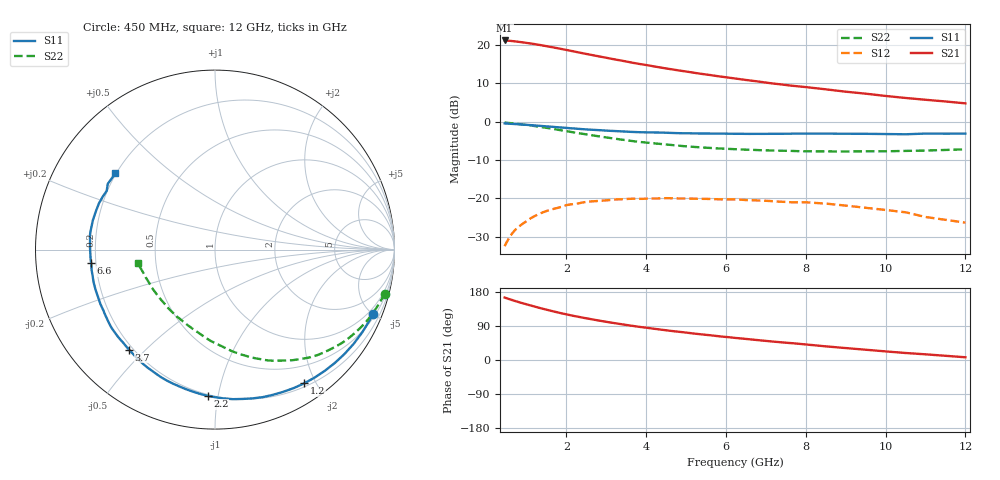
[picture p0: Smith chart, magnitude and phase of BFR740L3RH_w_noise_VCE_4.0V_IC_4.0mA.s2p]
! (c) 2012  Infineon Technologies AG, Munich
! Infineon Technologies  Discrete & RF Semiconductors
! BFR740L3RH
! VCE =  4.0 V,  IC =  4.0 mA
! Common Emitter S-Parameters:  May 2012
# GHz  S  MA  R  50
!  f  S11  S21  S12  S22
! GHz  MAG  ANG  MAG  ANG  MAG  ANG  MAG  ANG
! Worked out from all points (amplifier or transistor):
!   85 points, 450 MHz to 12 GHz, reference 50 ohm
!   highest |S21| = 21.2 dB at 450 MHz (marker M1)
!   |S21| within 3 dB of that: start of sweep to 2.248 GHz
!   unconditionally stable (mu >= 1): 9.39 GHz to end of sweep
!   at 1.8 GHz: K = 0.12, MSG = 20.8 dB, |S12| = -22.4 dB
!   at 4.6 GHz: K = 0.33, MSG = 16.9 dB, |S12| = -20.0 dB
!   at 12 GHz: K = 2.20, MAG = 9.4 dB, |S12| = -26.4 dB
!   lowest NFmin = 0.35 dB at 450 MHz
!   S11 on the Smith chart (normalised r, x): 450 MHz: 0.65, -4.99; 1.2 GHz: 0.24, -1.85; 2.2 GHz: 0.19, -0.93; 3.7 GHz: 0.18, -0.45; 6.6 GHz: 0.18, -0.05; 12 GHz: 0.20, +0.33
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0.45  0.9518 -22.3  11.54 164.9  0.0237 81.2  0.9775 -14.6
0.6  0.9407 -29.5  11.38 159.5  0.0327 69.8  0.9592 -19.1
0.8  0.9266 -38.9  11.07 152.9  0.0425 65.8  0.9353 -25.0
1  0.9113 -47.8  10.72 146.9  0.0503 59.6  0.9083 -30.6
1.2  0.8959 -56.2  10.34 141.1  0.0585 54.4  0.88 -36.0
1.4  0.8786 -64.5  9.927 135.4  0.0653 49.7  0.8479 -41.1
1.7  0.8548 -75.9  9.297 127.6  0.0732 43.7  0.8016 -48.4
1.9  0.8394 -83.1  8.879 122.7  0.0783 40.0  0.7681 -52.7
2.2  0.8161 -92.8  8.267 116.0  0.0842 34.4  0.7229 -58.8
2.4  0.8006 -99.0  7.871 111.9  0.0881 30.9  0.6972 -62.6
3  0.7666 -115.0  6.853 100.7  0.0941 22.0  0.6243 -72.7
3.3  0.7526 -122.1  6.403 95.7  0.0969 18.3  0.5926 -77.4
3.7  0.7348 -130.7  5.85 89.4  0.0988 13.6  0.5556 -83.3
4.3  0.7234 -141.7  5.172 81.1  0.0996 7.0  0.5162 -91.0
4.7  0.7127 -148.6  4.785 75.8  0.0998 4.3  0.4935 -96.2
5.2  0.7049 -156.2  4.367 69.8  0.0989 -0.5  0.4693 -102.1
6.3  0.6969 -170.3  3.631 57.6  0.0964 -8.2  0.4363 -114.9
6.6  0.6943 -173.8  3.46 54.5  0.0946 -10.6  0.4304 -118.5
7.2  0.6961 179.6  3.151 48.4  0.0915 -13.9  0.4209 -125.3
8.5  0.6999 166.5  2.653 36.0  0.0853 -22.3  0.4103 -139.2
10.5  0.6864 151.5  2.046 18.5  0.0657 -33.6  0.4162 -158.3
12  0.7 142.7  1.739 7.2  0.0481 -33.1  0.4366 -170.3
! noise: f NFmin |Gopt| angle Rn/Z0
0.45  0.35  0.51  4  0.17
0.9  0.37  0.5  16  0.17
1.5  0.4  0.51  30  0.15
1.9  0.43  0.52  38  0.15
2.4  0.48  0.51  47  0.15
3.5  0.58  0.51  68  0.13
5.5  0.8  0.56  99  0.1
8  1.08  0.5  137  0.08
10  1.29  0.51  162  0.05
12  1.5  0.56  -163  0.04
